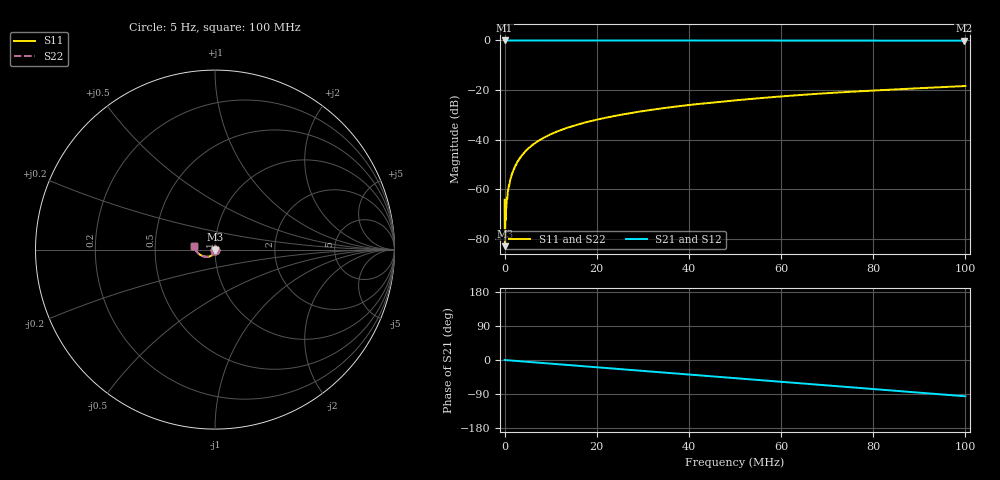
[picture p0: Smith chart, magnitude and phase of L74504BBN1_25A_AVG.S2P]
!Agilent Technologies,E5061B,MY49102235,A.02.00
!Date: Mon Jul 10 16:28:10 2023
!Data & Calibration Information:
!Freq	S11:SOLT2(ON)	S21:SOLT2(ON)	S12:SOLT2(ON)	S22:SOLT2(ON)
# Hz S RI R 50
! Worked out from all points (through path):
!   1600 points, 5 Hz to 100 MHz, reference 50 ohm
!   highest |S21| = 0.02 dB at 5 Hz (marker M1); lowest = -0.1 dB at 99.62 MHz (marker M2)
!   group delay of S21, straight-line fit = 2.66 ns
!   lowest |S11| = -83.0 dB at 62.54 kHz (marker M3), VSWR 1.00, Z = 50 - j0.00331 ohm
!   |S11| at or under -10 dB: start of sweep to end of sweep
!   |S22| runs from -78.0 to -18.3 dB; largest |S21 - S12| = 0.0026
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5  -0.000428 0.000435  1.002 0.00227  1.001 -3.47e-05  -0.00017 -5.48e-05
62544.08  -6.23e-05 -3.31e-05  0.9999 -0.000915  1 -0.000604  2.51e-05 -0.000123
250161.3  5.26e-05 -0.000233  0.9998 -0.0044  0.9998 -0.00413  2.98e-05 -0.000247
562856.8  9.59e-05 -0.000619  0.9998 -0.00969  0.9996 -0.00913  5.95e-05 -0.000667
687934.9  -1.63e-05 -0.000876  1 -0.0114  1 -0.0114  -1e-05 -0.000812
875552.2  -8.13e-05 -0.00111  0.9999 -0.0148  1 -0.0146  -6.94e-05 -0.00111
1063169  -7.41e-05 -0.00128  1.001 -0.0178  1 -0.0179  -3.75e-05 -0.00136
1313326  -8.3e-05 -0.00161  1 -0.0215  0.999 -0.0218  -9.8e-05 -0.00168
1876178  -0.000103 -0.00238  0.9998 -0.0318  0.9995 -0.0311  -8.22e-05 -0.00237
2376490  -9.63e-05 -0.00303  0.9997 -0.0401  0.999 -0.0398  -9.82e-05 -0.00302
3814889  -0.000264 -0.00485  0.998 -0.064  0.9978 -0.0636  -0.000308 -0.00489
5941218  -0.000721 -0.0076  0.9951 -0.0994  0.995 -0.0989  -0.000818 -0.00752
8755477  -0.00159 -0.0111  0.9891 -0.1463  0.9892 -0.1458  -0.00165 -0.011
1.250782e7  -0.00325 -0.0156  0.9779 -0.2078  0.9779 -0.2076  -0.00325 -0.0154
1.669794e7  -0.00585 -0.0203  0.961 -0.2757  0.961 -0.2755  -0.00573 -0.0202
2.395247e7  -0.012 -0.0275  0.9202 -0.3902  0.9201 -0.3897  -0.0118 -0.0278
3.333334e7  -0.0227 -0.0349  0.8477 -0.5288  0.8478 -0.5285  -0.0224 -0.0354
5.003127e7  -0.0472 -0.04  0.6684 -0.7412  0.6684 -0.7413  -0.0473 -0.0407
6.672921e7  -0.0757 -0.0329  0.4378 -0.8953  0.4376 -0.8949  -0.0756 -0.0338
8.33646e7  -0.1005 -0.0122  0.1744 -0.9791  0.1743 -0.9789  -0.1007 -0.0133
9.962477e7  -0.1184 0.0204  -0.0935 -0.988  -0.0937 -0.9877  -0.1191 0.0185
1e8  -0.1187 0.0212  -0.0997 -0.9876  -0.0999 -0.9871  -0.1195 0.0193
